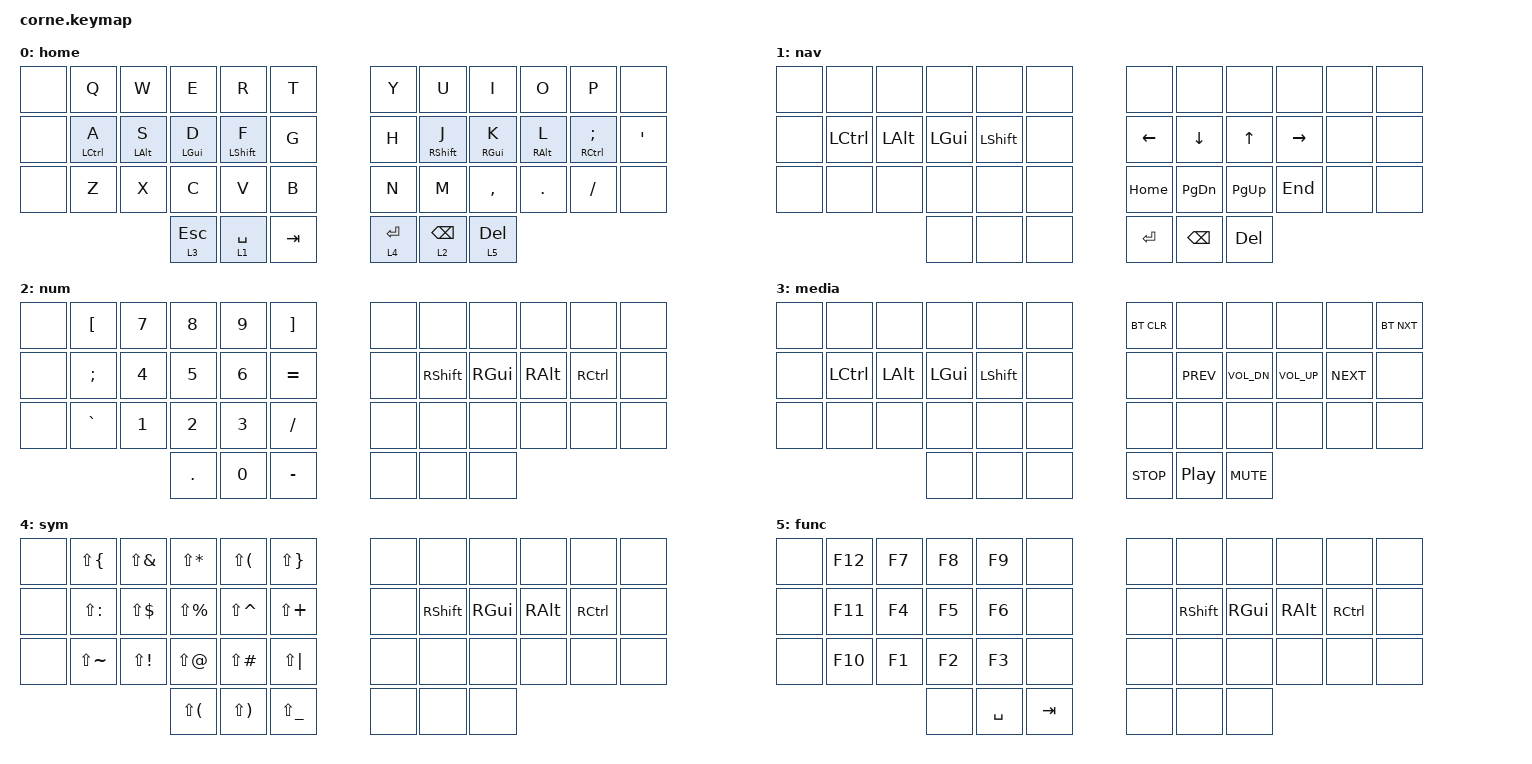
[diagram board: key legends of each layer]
/*
 * Copyright (c) 2020 The ZMK Contributors
 *
 * SPDX-License-Identifier: MIT
 */

#include <behaviors.dtsi>
#include <dt-bindings/zmk/bt.h>
#include <dt-bindings/zmk/keys.h>

&mt {
    flavor = "tap-preferred";
    tapping-term-ms = <170>;
    quick-tap-ms = <140>;
    require-prior-idle-ms = <150>;
};

&lt {
    tapping-term-ms = <170>;
    quick-tap-ms = <140>;
    require-prior-idle-ms = <150>;
};

/ {
    behaviors {
        hml: hml {
            compatible = "zmk,behavior-hold-tap";
            label = "HML";
            bindings = <&kp>, <&kp>;

            #binding-cells = <2>;
            flavor = "tap-preferred";
            tapping-term-ms = <170>;
            quick-tap-ms = <140>;
            require-prior-idle-ms = <150>;
            hold-trigger-on-release;
            hold-trigger-key-positions = <6 7 8 9 10 11 18 19 20 21 22 23 30 31 32 33 34 35 39 40 41>;
        };

        hmr: hmr {
            compatible = "zmk,behavior-hold-tap";
            label = "HMR";
            bindings = <&kp>, <&kp>;

            #binding-cells = <2>;
            flavor = "tap-preferred";
            tapping-term-ms = <170>;
            quick-tap-ms = <140>;
            require-prior-idle-ms = <150>;
            hold-trigger-on-release;
            hold-trigger-key-positions = <0 1 2 3 4 5 12 13 14 15 16 17 24 25 26 27 28 29 36 37 38>;
        };
    };

    keymap {
        compatible = "zmk,keymap";

        home {
            // -----------------------------------------------------------------------------------------
            // |  TAB |  Q  |  W  |  E  |  R  |  T  |   |  Y  |  U   |  I  |  O  |  P  | BKSP |
            // | CTRL |  A  |  S  |  D  |  F  |  G  |   |  H  |  J   |  K  |  L  |  ;  |  '   |
            // | SHFT |  Z  |  X  |  C  |  V  |  B  |   |  N  |  M   |  ,  |  .  |  /  | ESC  |
            //                    | GUI | LWR | SPC |   | ENT | RSE  | ALT |

            display-name = "home";
            bindings = <
&none  &kp Q         &kp W            &kp E            &kp R         &kp T      &kp Y        &kp U            &kp I        &kp O             &kp P            &none
&none  &hml LCTRL A  &hml LEFT_ALT S  &hml LEFT_GUI D  &hml LSHFT F  &kp G      &kp H        &hmr RSHFT J     &hmr RGUI K  &hmr RIGHT_ALT L  &hmr RCTRL SEMI  &kp SQT
&none  &kp Z         &kp X            &kp C            &kp V         &kp B      &kp N        &kp M            &kp COMMA    &kp DOT           &kp FSLH         &none
                                      &lt 3 ESC        &lt 1 SPACE   &kp TAB    &lt 4 ENTER  &lt 2 BACKSPACE  &lt 5 DEL
            >;
        };

        nav {
            // -----------------------------------------------------------------------------------------
            // |  TAB |  1  |  2  |  3  |  4  |  5  |   |  6  |  7  |  8  |  9  |  0  | BKSP |
            // | BTCLR| BT1 | BT2 | BT3 | BT4 | BT5 |   | LFT | DWN |  UP | RGT |     |      |
            // | SHFT |     |     |     |     |     |   |     |     |     |     |     |      |
            //                    | GUI |     | SPC |   | ENT |     | ALT |

            display-name = "nav";
            bindings = <
&none  &none      &none     &none     &none           &none    &none     &none          &none        &none      &none  &none
&none  &kp LCTRL  &kp LALT  &kp LGUI  &kp LEFT_SHIFT  &none    &kp LEFT  &kp DOWN       &kp UP       &kp RIGHT  &none  &none
&none  &none      &none     &none     &none           &none    &kp HOME  &kp PAGE_DOWN  &kp PAGE_UP  &kp END    &none  &none
                            &none     &none           &none    &kp RET   &kp BACKSPACE  &kp DEL
            >;
        };

        num {
            // -----------------------------------------------------------------------------------------
            // |  TAB |  !  |  @  |  #  |  $  |  %  |   |  ^  |  &  |  *  |  (  |  )  | BKSP |
            // | CTRL |     |     |     |     |     |   |  -  |  =  |  [  |  ]  |  \  |  `   |
            // | SHFT |     |     |     |     |     |   |  _  |  +  |  {  |  }  | "|" |  ~   |
            //                    | GUI |     | SPC |   | ENT |     | ALT |

            display-name = "num";
            bindings = <
&none  &kp LBKT   &kp N7  &kp N8   &kp N9  &kp RBKT     &none  &none      &none     &none     &none      &none
&none  &kp SEMI   &kp N4  &kp N5   &kp N6  &kp EQUAL    &none  &kp RSHFT  &kp RGUI  &kp RALT  &kp RCTRL  &none
&none  &kp GRAVE  &kp N1  &kp N2   &kp N3  &kp FSLH     &none  &none      &none     &none     &none      &none
                          &kp DOT  &kp N0  &kp MINUS    &none  &none      &none
            >;
        };

        media {
            display-name = "media";
            bindings = <
&none  &none      &none     &none     &none           &none    &bt BT_CLR  &none             &none         &none            &none       &bt BT_NXT
&none  &kp LCTRL  &kp LALT  &kp LGUI  &kp LEFT_SHIFT  &none    &none       &kp C_PREV        &kp C_VOL_DN  &kp C_VOLUME_UP  &kp C_NEXT  &none
&none  &none      &none     &none     &none           &none    &none       &none             &none         &none            &none       &none
                            &none     &none           &none    &kp C_STOP  &kp C_PLAY_PAUSE  &kp C_MUTE
            >;
        };

        sym {
            display-name = "sym";
            bindings = <
&none  &kp LS(LBRC)   &kp LS(AMPS)  &kp LS(STAR)   &kp LS(LPAR)   &kp LS(RBRC)     &none  &none      &none     &none     &none      &none
&none  &kp LS(COLON)  &kp LS(DLLR)  &kp LS(PRCNT)  &kp LS(CARET)  &kp LS(PLUS)     &none  &kp RSHFT  &kp RGUI  &kp RALT  &kp RCTRL  &none
&none  &kp LS(TILDE)  &kp LS(EXCL)  &kp LS(AT)     &kp LS(POUND)  &kp LS(PIPE)     &none  &none      &none     &none     &none      &none
                                    &kp LS(LPAR)   &kp LS(RPAR)   &kp LS(UNDER)    &none  &none      &none
            >;
        };

        func {
            display-name = "func";
            bindings = <
&none  &kp F12  &kp F7  &kp F8  &kp F9     &none      &none  &none      &none     &none     &none      &none
&none  &kp F11  &kp F4  &kp F5  &kp F6     &none      &none  &kp RSHFT  &kp RGUI  &kp RALT  &kp RCTRL  &none
&none  &kp F10  &kp F1  &kp F2  &kp F3     &none      &none  &none      &none     &none     &none      &none
                        &none   &kp SPACE  &kp TAB    &none  &none      &none
            >;
        };
    };
};
